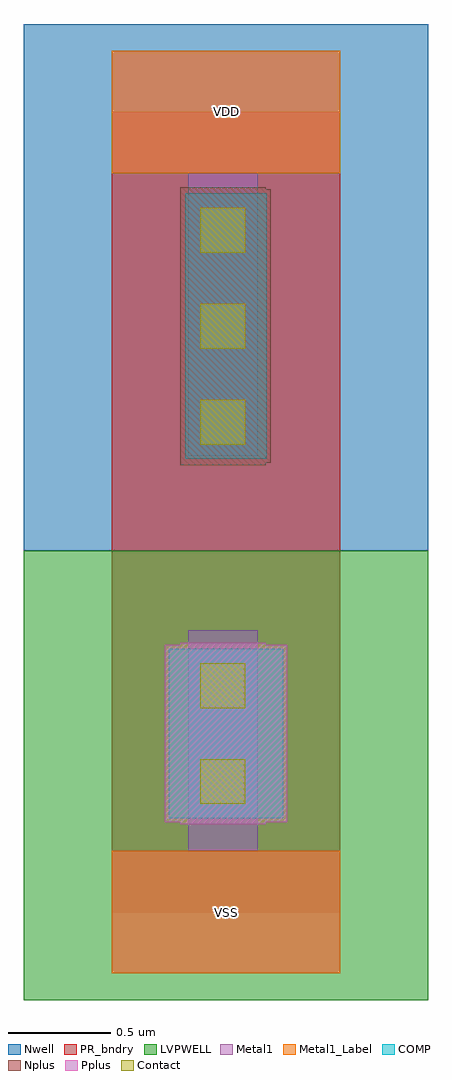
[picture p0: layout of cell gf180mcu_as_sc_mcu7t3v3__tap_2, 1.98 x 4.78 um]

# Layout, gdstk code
import gdstk
lib = gdstk.Library(unit=1e-6, precision=1e-09)
def R(c, l, rs):  # rectangles x0, y0, x1, y1
    for r in rs: c.add(gdstk.rectangle(r[:2], r[2:], *l))
def A(c, l, x, y, w, h, nx, ny, dx, dy):  # array of equal rectangles
    R(c, l, [(x+i*dx, y+j*dy, x+i*dx+w, y+j*dy+h) for i in range(nx) for j in range(ny)])
PR_bndry = (0, 0)
Nwell = (21, 0)
COMP = (22, 0)
Pplus = (31, 0)
Nplus = (32, 0)
Contact = (33, 0)
Metal1 = (34, 0)
Metal1_Label = (34, 10)
LVPWELL = (204, 0)

gf180mcu_as_sc_mcu7t3v3_ = lib.new_cell('gf180mcu_as_sc_mcu7t3v3__tap_2')
R(gf180mcu_as_sc_mcu7t3v3_, PR_bndry, [(0,0,1.12,3.92)])
R(gf180mcu_as_sc_mcu7t3v3_, Nwell, [(-0.43,1.77,1.55,4.35)])
R(gf180mcu_as_sc_mcu7t3v3_, COMP, [(0.28,0.46,0.84,1.29), (0.36,2.22,0.76,3.52)])
R(gf180mcu_as_sc_mcu7t3v3_, Pplus, [(0.335,0.43,0.755,0.44), (0.26,0.44,0.86,1.31), (0.335,1.31,0.755,1.32)])
R(gf180mcu_as_sc_mcu7t3v3_, Nplus, [(0.335,2.19,0.755,2.2), (0.335,2.2,0.78,3.54), (0.335,3.54,0.755,3.55)])
A(gf180mcu_as_sc_mcu7t3v3_, Contact, 0.435, 2.29, 0.22, 0.22, 1, 3, 0, 0.47)
R(gf180mcu_as_sc_mcu7t3v3_, Contact, [(0.435,0.53,0.655,0.75), (0.435,1,0.655,1.22)])
R(gf180mcu_as_sc_mcu7t3v3_, Metal1, [(0,-0.3,1.12,0.3), (0.375,0.3,0.715,1.38), (0.375,2.235,0.715,3.62), (0,3.62,1.12,4.22)])
R(gf180mcu_as_sc_mcu7t3v3_, Metal1_Label, [(0,-0.3,1.12,0.3), (0,3.62,1.12,4.22)])
R(gf180mcu_as_sc_mcu7t3v3_, LVPWELL, [(-0.43,-0.43,1.55,1.77)])
gf180mcu_as_sc_mcu7t3v3_.add(gdstk.Label('VDD', (0.56,3.92), layer=34, texttype=10))
gf180mcu_as_sc_mcu7t3v3_.add(gdstk.Label('VSS', (0.56,0), layer=34, texttype=10))

lib.write_gds('gf180mcu_as_sc_mcu7t3v3__tap_2.gds')
